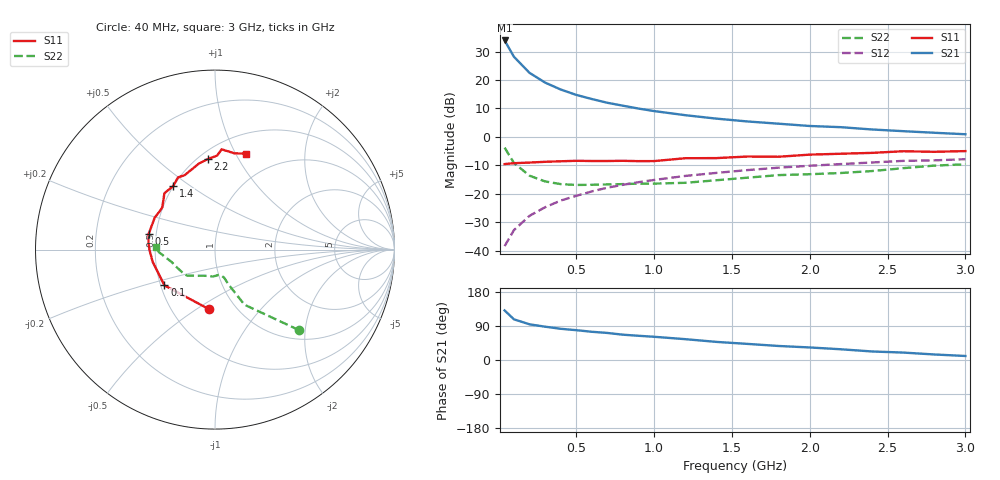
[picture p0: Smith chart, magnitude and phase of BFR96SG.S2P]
! Filename:  BFR96SG.S2P  Version:  2.0
! Philips part #: BFR96S  Date: Jul 1990
! Bias condition: Vce=10V, Ic=50mA
#  MHz  S  MA  R  50
! Freq  S11  S21  S12  S22  !GUM [dB]
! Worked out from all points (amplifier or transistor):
!   21 points, 40 MHz to 3 GHz, reference 50 ohm
!   highest |S21| = 33.9 dB at 40 MHz (marker M1)
!   |S21| within 3 dB of that: start of sweep to 71.36 MHz
!   unconditionally stable (mu >= 1): 229.7 MHz to end of sweep
!   at 300 MHz: K = 1.03, MAG = 20.8 dB, |S12| = -24.7 dB
!   at 1 GHz: K = 1.09, MAG = 10.3 dB, |S12| = -15.1 dB
!   at 3 GHz: K = 1.07, MAG = 2.7 dB, |S12| = -7.8 dB
!   S11 on the Smith chart (normalised r, x): 40 MHz: 0.75, -0.56; 100 MHz: 0.52, -0.24; 500 MHz: 0.45, +0.09; 1.4 GHz: 0.50, +0.43; 2.2 GHz: 0.56, +0.76; 3 GHz: 0.71, +1.11
40  0.333 -96.0  49.62 130.8  0.012 70.5  0.648 -43.8
100  0.345 -144.7  25.63 107.3  0.023 67.5  0.348 -61.9
200  0.354 -168.9  13.38 94.2  0.041 73.3  0.208 -68.8
300  0.365 -179.7  9.016 87.9  0.058 74.3  0.165 -71.9
400  0.373 173.9  6.82 82.4  0.076 74.0  0.148 -76.4
500  0.38 166.6  5.483 78.7  0.092 73.3  0.143 -81.5
600  0.377 162.0  4.636 74.5  0.11 71.3  0.144 -85.9
700  0.377 158.1  3.983 71.4  0.128 70.5  0.146 -88.4
800  0.38 152.0  3.537 66.8  0.144 69.2  0.148 -91.5
900  0.375 145.1  3.151 63.9  0.16 67.9  0.151 -95.6
1000  0.376 141.4  2.846 61.3  0.175 66.4  0.151 -100.5
1200  0.422 131.9  2.411 55.0  0.206 63.4  0.156 -110.9
1400  0.424 123.3  2.097 47.8  0.233 60.2  0.173 -122.6
1600  0.452 117.1  1.869 42.5  0.261 58.0  0.192 -131.0
1800  0.448 112.1  1.707 37.0  0.288 53.6  0.213 -137.2
2000  0.488 100.5  1.556 33.1  0.311 51.0  0.221 -143.9
2200  0.506 94.5  1.483 28.3  0.333 48.3  0.232 -153.5
2400  0.524 88.7  1.351 22.5  0.355 46.6  0.251 -163.9
2600  0.56 86.2  1.262 19.6  0.379 43.0  0.282 -171.8
2800  0.547 78.5  1.183 14.6  0.387 39.7  0.313 -177.4
3000  0.563 71.9  1.114 10.6  0.406 38.5  0.33 177.4
